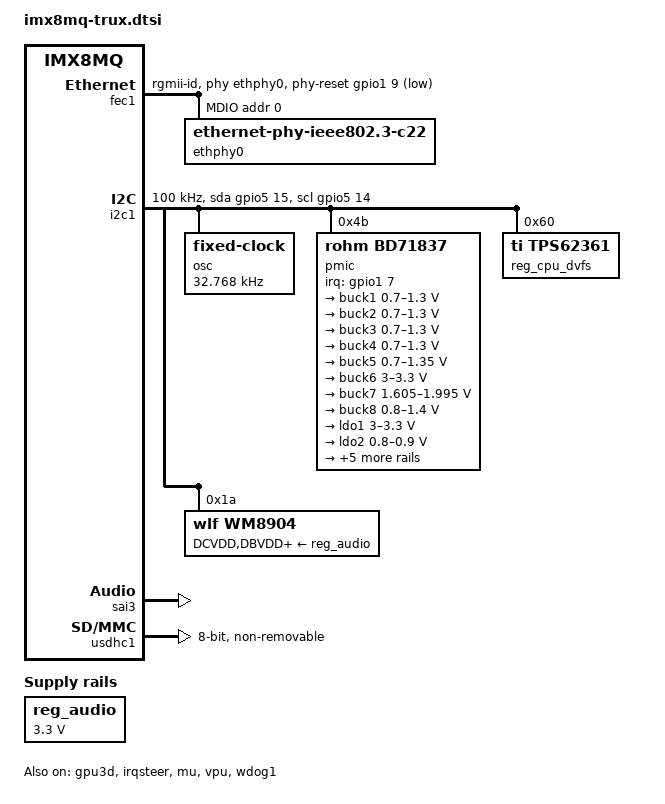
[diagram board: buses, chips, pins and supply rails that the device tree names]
// SPDX-License-Identifier: (GPL-2.0 OR MIT)
/*
 * Copyright 2017 NXP
 * Copyright 2022 Trucrux
 */

/dts-v1/;

#include <dt-bindings/usb/pd.h>
#include "imx8mq.dtsi"

/ {
	compatible = "trucrux,imx8m-trux", "fsl,imx8mq";

	reg_audio: audio_vdd {
		compatible = "regulator-fixed";
		regulator-name = "wm8904_supply";
		regulator-min-microvolt = <3300000>;
		regulator-max-microvolt = <3300000>;
		regulator-always-on;
	};

	reg_eth_phy: eth_phy {
		compatible = "regulator-fixed";
		regulator-name = "eth_phy_pwr";
		regulator-min-microvolt = <3300000>;
		regulator-max-microvolt = <3300000>;
		gpio = <&gpio1 8 GPIO_ACTIVE_HIGH>;
		enable-active-high;
		status = "disabled";
	};

	sound-wm8904 {
		compatible = "fsl,imx-audio-wm8904";
		model = "imx-wm8904";
		audio-cpu = <&sai3>;
		audio-codec = <&wm8904>;
		audio-routing =
			"Headphone Jack", "HPOUTL",
			"Headphone Jack", "HPOUTR",
			"IN2L", "Line In Jack",
			"IN2R", "Line In Jack",
			"IN1L", "Mic Jack",
			"Playback", "CPU-Playback",
			"CPU-Capture", "Capture";
		status = "okay";
	};

	sound-hdmi {
		compatible = "fsl,imx8mq-evk-cdnhdmi",
				"fsl,imx-audio-cdnhdmi";
		model = "imx-audio-hdmi";
		audio-cpu = <&sai4>;
		protocol = <1>;
		hdmi-out;
		constraint-rate = <44100>,
				<88200>,
				<176400>,
				<32000>,
				<48000>,
				<96000>,
				<192000>;
		status = "disabled";
	};

	sound-hdmi-arc {
		compatible = "fsl,imx-audio-spdif";
		model = "imx-hdmi-arc";
		spdif-controller = <&spdif2>;
		spdif-in;
		status = "disabled";
	};

	sound-spdif {
		compatible = "fsl,imx-audio-spdif";
		model = "imx-spdif";
		spdif-controller = <&spdif1>;
		spdif-out;
		spdif-in;
		status = "disabled";
	};
};

&A53_0 {
	cpu-supply = <&reg_cpu_dvfs>;
};

&A53_1 {
	cpu-supply = <&reg_cpu_dvfs>;
};

&A53_2 {
	cpu-supply = <&reg_cpu_dvfs>;
};

&A53_3 {
	cpu-supply = <&reg_cpu_dvfs>;
};


&fec1 {
	pinctrl-names = "default";
	pinctrl-0 = <&pinctrl_fec1>;
	phy-mode = "rgmii-id";
	phy-handle = <&ethphy0>;
	fsl,magic-packet;
	status = "okay";
	phy-reset-gpios = <&gpio1 9 GPIO_ACTIVE_LOW>;
	phy-reset-duration = <10>;

	mdio {
		#address-cells = <1>;
		#size-cells = <0>;

		ethphy0: ethernet-phy@0 {
			compatible = "ethernet-phy-ieee802.3-c22";
			reg = <0x00>;
		};
	};
};

&gpu3d {
	status = "okay";
};

&iomuxc {
	pinctrl-names = "default";

	pinctrl_bt: btgrp {
		fsl,pins = <
			MX8MQ_IOMUXC_NAND_CE3_B_GPIO3_IO4		0xc1	/* BT_REG_ON     */
			MX8MQ_IOMUXC_SPDIF_EXT_CLK_GPIO5_IO5		0xc1	/* BT_BUF_EN     */
		>;
	};

	pinctrl_ethphy: ethphygrp {
		fsl,pins = <
			MX8MQ_IOMUXC_GPIO1_IO08_GPIO1_IO8		0xc1
		>;
	};

	pinctrl_fec1: fec1grp {
		fsl,pins = <
			MX8MQ_IOMUXC_ENET_MDC_ENET1_MDC			0x3
			MX8MQ_IOMUXC_ENET_MDIO_ENET1_MDIO		0x23
			MX8MQ_IOMUXC_ENET_TD3_ENET1_RGMII_TD3		0x1f
			MX8MQ_IOMUXC_ENET_TD2_ENET1_RGMII_TD2		0x1f
			MX8MQ_IOMUXC_ENET_TD1_ENET1_RGMII_TD1		0x1f
			MX8MQ_IOMUXC_ENET_TD0_ENET1_RGMII_TD0		0x1f
			MX8MQ_IOMUXC_ENET_RD3_ENET1_RGMII_RD3		0x91
			MX8MQ_IOMUXC_ENET_RD2_ENET1_RGMII_RD2		0x91
			MX8MQ_IOMUXC_ENET_RD1_ENET1_RGMII_RD1		0x91
			MX8MQ_IOMUXC_ENET_RD0_ENET1_RGMII_RD0		0x91
			MX8MQ_IOMUXC_ENET_TXC_ENET1_RGMII_TXC		0x1f
			MX8MQ_IOMUXC_ENET_RXC_ENET1_RGMII_RXC		0x91
			MX8MQ_IOMUXC_ENET_RX_CTL_ENET1_RGMII_RX_CTL	0x91
			MX8MQ_IOMUXC_ENET_TX_CTL_ENET1_RGMII_TX_CTL	0x1f
			MX8MQ_IOMUXC_GPIO1_IO09_GPIO1_IO9		0x19
		>;
	};

	pinctrl_i2c1: i2c1grp {
		fsl,pins = <
			MX8MQ_IOMUXC_I2C1_SCL_I2C1_SCL			0x4000007f
			MX8MQ_IOMUXC_I2C1_SDA_I2C1_SDA			0x4000007f
		>;
	};

	pinctrl_i2c1_gpio: i2c1grp-gpio {
		fsl,pins = <
			MX8MQ_IOMUXC_I2C1_SCL_GPIO5_IO14        	0x7f
			MX8MQ_IOMUXC_I2C1_SDA_GPIO5_IO15        	0x7f
		>;
	};

	pinctrl_lvds: lvdsgrp {
		fsl,pins = <
			MX8MQ_IOMUXC_GPIO1_IO11_GPIO1_IO11		0x16
		>;
	};

	pinctrl_sai3: sai3grp {
		fsl,pins = <
			MX8MQ_IOMUXC_SAI3_RXFS_SAI3_RX_SYNC		0xd6
			MX8MQ_IOMUXC_SAI3_RXC_SAI3_RX_BCLK		0xd6
			MX8MQ_IOMUXC_SAI3_RXD_SAI3_RX_DATA0		0xd6
			MX8MQ_IOMUXC_SAI3_TXFS_SAI3_TX_SYNC		0xd6
			MX8MQ_IOMUXC_SAI3_TXC_SAI3_TX_BCLK		0xd6
			MX8MQ_IOMUXC_SAI3_TXD_SAI3_TX_DATA0		0xd6
			MX8MQ_IOMUXC_SAI3_MCLK_SAI3_MCLK		0xd6
		>;
	};

	pinctrl_spdif1: spdif1grp {
		fsl,pins = <
			MX8MQ_IOMUXC_SPDIF_TX_SPDIF1_OUT		0xd6
			MX8MQ_IOMUXC_SPDIF_RX_SPDIF1_IN			0xd6
		>;
	};

	pinctrl_uart4: uart4grp {
		fsl,pins = <
			MX8MQ_IOMUXC_ECSPI2_SCLK_UART4_DCE_RX		0xc1
			MX8MQ_IOMUXC_ECSPI2_MOSI_UART4_DCE_TX		0xc1
			MX8MQ_IOMUXC_ECSPI2_MISO_UART4_DCE_CTS_B	0xc1
			MX8MQ_IOMUXC_ECSPI2_SS0_UART4_DCE_RTS_B		0xc1
		>;
	};

	pinctrl_usdhc1: usdhc1grp {
		fsl,pins = <
			MX8MQ_IOMUXC_SD1_CLK_USDHC1_CLK			0x83
			MX8MQ_IOMUXC_SD1_CMD_USDHC1_CMD			0xc3
			MX8MQ_IOMUXC_SD1_DATA0_USDHC1_DATA0		0xc3
			MX8MQ_IOMUXC_SD1_DATA1_USDHC1_DATA1		0xc3
			MX8MQ_IOMUXC_SD1_DATA2_USDHC1_DATA2		0xc3
			MX8MQ_IOMUXC_SD1_DATA3_USDHC1_DATA3		0xc3
			MX8MQ_IOMUXC_SD1_DATA4_USDHC1_DATA4		0xc3
			MX8MQ_IOMUXC_SD1_DATA5_USDHC1_DATA5		0xc3
			MX8MQ_IOMUXC_SD1_DATA6_USDHC1_DATA6		0xc3
			MX8MQ_IOMUXC_SD1_DATA7_USDHC1_DATA7		0xc3
			MX8MQ_IOMUXC_SD1_STROBE_USDHC1_STROBE		0x83
			MX8MQ_IOMUXC_SD1_RESET_B_USDHC1_RESET_B		0xc1
		>;
	};

	pinctrl_usdhc1_100mhz: usdhc1-100grp {
		fsl,pins = <
			MX8MQ_IOMUXC_SD1_CLK_USDHC1_CLK			0x8d
			MX8MQ_IOMUXC_SD1_CMD_USDHC1_CMD			0xcd
			MX8MQ_IOMUXC_SD1_DATA0_USDHC1_DATA0		0xcd
			MX8MQ_IOMUXC_SD1_DATA1_USDHC1_DATA1		0xcd
			MX8MQ_IOMUXC_SD1_DATA2_USDHC1_DATA2		0xcd
			MX8MQ_IOMUXC_SD1_DATA3_USDHC1_DATA3		0xcd
			MX8MQ_IOMUXC_SD1_DATA4_USDHC1_DATA4		0xcd
			MX8MQ_IOMUXC_SD1_DATA5_USDHC1_DATA5		0xcd
			MX8MQ_IOMUXC_SD1_DATA6_USDHC1_DATA6		0xcd
			MX8MQ_IOMUXC_SD1_DATA7_USDHC1_DATA7		0xcd
			MX8MQ_IOMUXC_SD1_STROBE_USDHC1_STROBE		0x8d
			MX8MQ_IOMUXC_SD1_RESET_B_USDHC1_RESET_B		0xc1
		>;
	};

	pinctrl_usdhc1_200mhz: usdhc1-200grp {
		fsl,pins = <
			MX8MQ_IOMUXC_SD1_CLK_USDHC1_CLK			0x9f
			MX8MQ_IOMUXC_SD1_CMD_USDHC1_CMD			0xdf
			MX8MQ_IOMUXC_SD1_DATA0_USDHC1_DATA0		0xdf
			MX8MQ_IOMUXC_SD1_DATA1_USDHC1_DATA1		0xdf
			MX8MQ_IOMUXC_SD1_DATA2_USDHC1_DATA2		0xdf
			MX8MQ_IOMUXC_SD1_DATA3_USDHC1_DATA3		0xdf
			MX8MQ_IOMUXC_SD1_DATA4_USDHC1_DATA4		0xdf
			MX8MQ_IOMUXC_SD1_DATA5_USDHC1_DATA5		0xdf
			MX8MQ_IOMUXC_SD1_DATA6_USDHC1_DATA6		0xdf
			MX8MQ_IOMUXC_SD1_DATA7_USDHC1_DATA7		0xdf
			MX8MQ_IOMUXC_SD1_STROBE_USDHC1_STROBE		0x9f
			MX8MQ_IOMUXC_SD1_RESET_B_USDHC1_RESET_B		0xc1
		>;
	};

	pinctrl_usdhc2_vsel: usdhc2grpvsel {
		fsl,pins = <
			MX8MQ_IOMUXC_GPIO1_IO04_USDHC2_VSELECT		0xc1
		>;
	};

	pinctrl_wdog: wdog1grp {
		fsl,pins = <
			MX8MQ_IOMUXC_GPIO1_IO02_WDOG1_WDOG_B		0xc6
		>;
	};

	pinctrl_wifi: wifigrp {
		fsl,pins = <
			MX8MQ_IOMUXC_GPIO1_IO04_GPIO1_IO4		0xc1	/* WIFI_PWR_VSEL */
			MX8MQ_IOMUXC_GPIO1_IO08_GPIO1_IO8		0xc1	/* WIFI_PWR_ON   */
			MX8MQ_IOMUXC_NAND_CE1_B_GPIO3_IO2		0xc1	/* WIFI_REG_ON   */
			MX8MQ_IOMUXC_GPIO1_IO00_ANAMIX_REF_CLK_32K	0xc1	/* WIFI_CLK_32K  */
		>;
	};
	   pinctrl_pmic: pmicirq {
			   fsl,pins = <
						MX8MQ_IOMUXC_GPIO1_IO07_GPIO1_IO7                0x41
				>;
		};

};

&i2c1 {
	clock-frequency = <100000>;
	pinctrl-names = "default", "gpio";
	pinctrl-0 = <&pinctrl_i2c1>;
	pinctrl-1 = <&pinctrl_i2c1_gpio>;
	scl-gpios = <&gpio5 14 GPIO_ACTIVE_HIGH>;
	sda-gpios = <&gpio5 15 GPIO_ACTIVE_HIGH>;
	status = "okay";

	dsi_lvds_bridge: sn65dsi84@2c {
		compatible = "ti,sn65dsi83";
		reg = <0x2c>;
		ti,dsi-lanes = <3>;
		ti,lvds-format = <1>;
		ti,lvds-bpp = <24>;
		ti,lvds-channels = <1>;
		ti,width-mm = <154>;
		ti,height-mm = <87>;
		enable-gpios = <&gpio1 11 GPIO_ACTIVE_HIGH>;
		pinctrl-names = "default";
		pinctrl-0 = <&pinctrl_lvds>;
		status = "disabled";

		display-timings {
			lvds {
				clock-frequency = <39000000>;
				hactive = <800>;
				vactive = <480>;
				hback-porch = <40>;
				hfront-porch = <40>;
				vback-porch = <29>;
				vfront-porch = <13>;
				hsync-len = <48>;
				vsync-len = <3>;
				hsync-active = <0>;
				vsync-active = <0>;
				de-active = <1>;
				pixelclk-active = <0>;
			};
		};

		port {
			dsi_lvds_bridge_in: endpoint {
				remote-endpoint = <&mipi_dsi_out>;
			};
		};
	};

	/* external oscillator node */
		osc: oscillator {
				compatible = "fixed-clock";
				#clock-cells = <1>;
				clock-frequency  = <32768>;
				clock-output-names = "osc";
		};

	pmic: bd71837@4b {
				reg = <0x4b>;
				compatible = "rohm,bd71837";
				pinctrl-0 = <&pinctrl_pmic>;
				interrupt-parent = <&gpio1>;
				interrupts = <7 GPIO_ACTIVE_LOW>;
		rohm,reset-snvs-powered;

			  regulators {
			buck1: BUCK1 {
							regulator-name = "buck1";
							regulator-min-microvolt = <700000>;
							regulator-max-microvolt = <1300000>;
							regulator-boot-on;
							regulator-always-on;
							rohm,dvs-run-voltage = <900000>;
							rohm,dvs-idle-voltage = <900000>;
							rohm,dvs-suspend-voltage = <900000>;
				//regulator-ramp-delay = <1250>;

						};
					buck2: BUCK2 {
							regulator-name = "buck2";
							regulator-min-microvolt = <700000>;
							regulator-max-microvolt = <1300000>;
							regulator-boot-on;
							regulator-always-on;
							rohm,dvs-run-voltage = <1000000>;
							rohm,dvs-idle-voltage = <900000>;
				//regulator-ramp-delay = <1250>;

					};
					buck3: BUCK3 {
							regulator-name = "buck3";
							regulator-min-microvolt = <700000>;
							regulator-max-microvolt = <1300000>;
							regulator-boot-on;
							regulator-always-on;
							rohm,dvs-run-voltage = <1000000>;
					};
					buck4: BUCK4 {
							regulator-name = "buck4";
							regulator-min-microvolt = <700000>;
							regulator-max-microvolt = <1300000>;
							regulator-boot-on;
							regulator-always-on;
							rohm,dvs-run-voltage = <1000000>;
					};
					buck5: BUCK5 {
							regulator-name = "buck5";
							regulator-min-microvolt = <700000>;
							regulator-max-microvolt = <1350000>;
							regulator-boot-on;
							regulator-always-on;
					};
					buck6: BUCK6 {
							regulator-name = "buck6";
							regulator-min-microvolt = <3000000>;
							regulator-max-microvolt = <3300000>;
							regulator-boot-on;
							regulator-always-on;
					};
					buck7: BUCK7 {
							regulator-name = "buck7";
							regulator-min-microvolt = <1605000>;
							regulator-max-microvolt = <1995000>;
							regulator-boot-on;
							regulator-always-on;
					};
					buck8: BUCK8 {
							regulator-name = "buck8";
							regulator-min-microvolt = <800000>;
							regulator-max-microvolt = <1400000>;
							regulator-always-on;
					};

					ldo1: LDO1 {
							regulator-name = "ldo1";
							regulator-min-microvolt = <3000000>;
							regulator-max-microvolt = <3300000>;
							regulator-boot-on;
				regulator-always-on;


					};
					ldo2: LDO2 {
							regulator-name = "ldo2";
							regulator-min-microvolt = <800000>;
							regulator-max-microvolt = <900000>;
							regulator-boot-on;
				regulator-always-on;

					};
					ldo3: LDO3 {
							regulator-name = "ldo3";
							regulator-min-microvolt = <1800000>;
							regulator-max-microvolt = <3300000>;
				regulator-boot-on;
				regulator-always-on;

					};
					ldo4: LDO4 {
							regulator-name = "ldo4";
							regulator-min-microvolt = <900000>;
							regulator-max-microvolt = <1800000>;
				regulator-boot-on;
				regulator-always-on;

					};
					ldo5: LDO5 {
							regulator-name = "ldo5";
							regulator-min-microvolt = <1800000>;
							regulator-max-microvolt = <3300000>;
				regulator-boot-on;
				regulator-always-on;

					};
					ldo6: LDO6 {
							regulator-name = "ldo6";
							regulator-min-microvolt = <900000>;
							regulator-max-microvolt = <1800000>;
				regulator-boot-on;
				regulator-always-on;

					};
					ldo7_reg: LDO7 {
							regulator-name = "ldo7";
							regulator-min-microvolt = <1800000>;
							regulator-max-microvolt = <3300000>;
				regulator-boot-on;
				regulator-always-on;

					};
				};
		};


	reg_cpu_dvfs: tps62361@60 {
		reg = <0x60>;
		compatible = "ti,tps62361";
		regulator-min-microvolt = <900000>;
		regulator-max-microvolt = <1000000>;
		regulator-name = "arm-supply";
		regulator-boot-on;
		regulator-always-on;
		ti,enable-force-pwm;
	};

	wm8904: codec@1a {
		compatible = "wlf,wm8904";
		reg = <0x1a>;
		clocks = <&clk IMX8MQ_CLK_SAI3_ROOT>;
		clock-names = "mclk";
		DCVDD-supply = <&reg_audio>;
		DBVDD-supply = <&reg_audio>;
		AVDD-supply = <&reg_audio>;
		CPVDD-supply = <&reg_audio>;
		MICVDD-supply = <&reg_audio>;
		num-drc-cfgs = <5>;
		drc-cfg-names = "default", "peaklimiter", "tradition", "soft", "music";
		drc-cfg-regs =
				/* coded default: KNEE_IP = KNEE_OP = 0, HI_COMP = LO_COMP = 1  */
				<0x01af 0x3248 0x0000 0x0000>,
				/* coded default: KNEE_IP = -24, KNEE_OP = -6, HI_COMP = 1/4, LO_COMP = 1 */
				<0x04af 0x324b 0x0010 0x0408>,
				/* coded default: KNEE_IP = -42, KNEE_OP = -3, HI_COMP = 0, LO_COMP = 1 */
				<0x04af 0x324b 0x0028 0x0704>,
				/* coded default: KNEE_IP = -45, KNEE_OP = -9, HI_COMP = 1/8, LO_COMP = 1 */
				<0x04af 0x324b 0x0018 0x078c>,
				/* coded default: KNEE_IP = -30, KNEE_OP = -10.5, HI_COMP = 1/4, LO_COMP = 1 */
				<0x04af 0x324b 0x0010 0x050e>;
		gpio-cfg = <
			0xffff /* GPIO1 => dont't touch */
			0xffff /* GPIO2 => don't touch */
			0x0018 /* GPIO3 => DMIC_CLK */
			0xffff /* GPIO4 => don't touch */
		>;
		status = "okay";
	};
};

&irqsteer {
	status = "okay";
};

&mipi_dsi {
	status = "disabled";

	ports {
		#address-cells = <1>;
		#size-cells = <0>;
		/* DCSS Port (IN) */
		port@0 {
			reg = <0>;
		};
		/* MIPI DSI Port (OUT)*/
		port@1 {
			reg = <1>;
			mipi_dsi_out: endpoint {
				remote-endpoint = <&dsi_lvds_bridge_in>;
			};
		};
	};
};

&mu {
	status = "okay";
};

&pgc_gpu {
	power-supply = <&buck3>;
};

&pgc_vpu {
	power-supply = <&buck4>;
};

&sai3 {
	pinctrl-names = "default";
	pinctrl-0 = <&pinctrl_sai3>;
	assigned-clocks = <&clk IMX8MQ_CLK_SAI3>;
	assigned-clock-parents = <&clk IMX8MQ_AUDIO_PLL1_OUT>;
	assigned-clock-rates = <1536000>;
	status = "okay";
};

&sai4 {
	assigned-clocks = <&clk IMX8MQ_CLK_SAI4>;
	assigned-clock-parents = <&clk IMX8MQ_AUDIO_PLL1_OUT>;
	assigned-clock-rates = <24576000>;
	status = "disabled";
};

&spdif1 {
	pinctrl-names = "default";
	pinctrl-0 = <&pinctrl_spdif1>;
	assigned-clocks = <&clk IMX8MQ_CLK_SPDIF1>;
	assigned-clock-parents = <&clk IMX8MQ_AUDIO_PLL1_OUT>;
	assigned-clock-rates = <24576000>;
	clocks = <&clk IMX8MQ_CLK_IPG_ROOT>, <&clk IMX8MQ_CLK_25M>,
		<&clk IMX8MQ_CLK_SPDIF1>, <&clk IMX8MQ_CLK_DUMMY>,
		<&clk IMX8MQ_CLK_DUMMY>, <&clk IMX8MQ_CLK_DUMMY>,
		<&clk IMX8MQ_CLK_IPG_ROOT>, <&clk IMX8MQ_CLK_DUMMY>,
		<&clk IMX8MQ_CLK_DUMMY>, <&clk IMX8MQ_CLK_DUMMY>,
		<&clk IMX8MQ_AUDIO_PLL1_OUT>, <&clk IMX8MQ_AUDIO_PLL2_OUT>;
	clock-names = "core", "rxtx0", "rxtx1", "rxtx2", "rxtx3", "rxtx4",
			  "rxtx5", "rxtx6", "rxtx7", "spba", "pll8k", "pll11k";
	status = "disabled";
};

&spdif2 {
	assigned-clocks = <&clk IMX8MQ_CLK_SPDIF2>;
	assigned-clock-parents = <&clk IMX8MQ_AUDIO_PLL1_OUT>;
	assigned-clock-rates = <24576000>;
	status = "disabled";
};

/* Bluetooth */
&uart4 {
	pinctrl-names = "default";
	pinctrl-0 = <&pinctrl_uart4>, <&pinctrl_bt>;
	assigned-clocks = <&clk IMX8MQ_CLK_UART4>;
	assigned-clock-parents = <&clk IMX8MQ_SYS1_PLL_80M>;
	fsl,uart-has-rtscts;
	status = "disabled";
};

/* eMMC */
&usdhc1 {
	pinctrl-names = "default", "state_100mhz", "state_200mhz";
	pinctrl-0 = <&pinctrl_usdhc1>;
	pinctrl-1 = <&pinctrl_usdhc1_100mhz>;
	pinctrl-2 = <&pinctrl_usdhc1_200mhz>;
	vqmmc-supply = <&buck7>;
	bus-width = <8>;
	non-removable;
	no-sd;
	no-sdio;
	status = "okay";
};

&vpu {
	status = "okay";
};

&wdog1 {
	pinctrl-names = "default";
	pinctrl-0 = <&pinctrl_wdog>;
	fsl,ext-reset-output;
	status = "okay";
};
